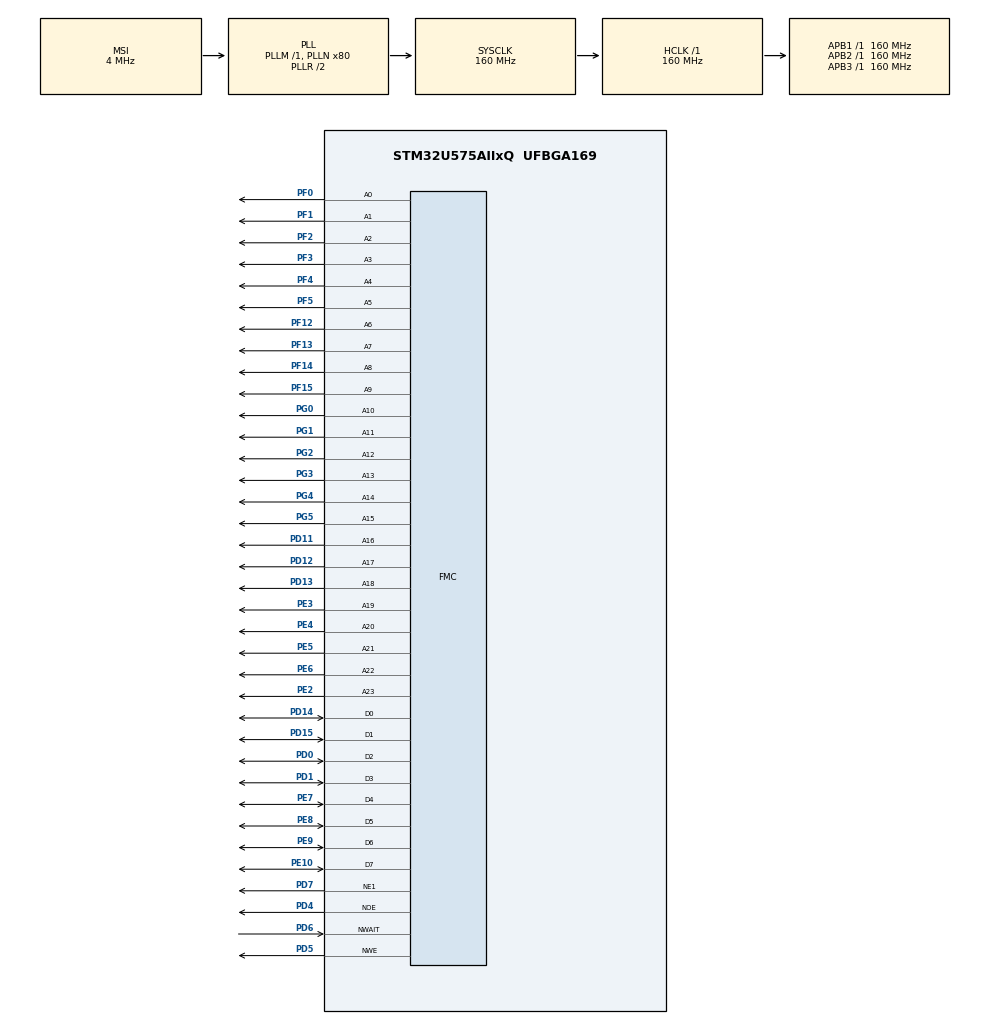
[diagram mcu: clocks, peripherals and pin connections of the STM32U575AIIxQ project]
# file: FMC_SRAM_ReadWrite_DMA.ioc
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CORTEX_M33_NS.userName=CORTEX_M33
DCACHE1.DCACHE_Read_Burst_Type=DCACHE_READ_BURST_INCR
FMC.AddressSetupTime1=9
FMC.BusTurnAroundDuration1=2
FMC.DataSetupTime1=6
FMC.WriteFifo1=FMC_WRITE_FIFO_DISABLE
FMC.WriteOperation1=FMC_WRITE_OPERATION_ENABLE
GPDMA1.DESTDATAWIDTH_GPDMACH1=DMA_DEST_DATAWIDTH_HALFWORD
GPDMA1.DESTINC_GPDMACH1=DMA_DINC_INCREMENTED
GPDMA1.PRIORITY_GPDMACH1=DMA_LOW_PRIORITY_HIGH_WEIGHT
GPDMA1.SRCDATAWIDTH_GPDMACH1=DMA_SRC_DATAWIDTH_HALFWORD
GPDMA1.SRCINC_GPDMACH1=DMA_SINC_INCREMENTED
GPDMA1.TRANSFERALLOCATEDPORTDEST_GPDMACH1=DMA_DEST_ALLOCATED_PORT1
Mcu.Family=STM32U5
Mcu.Name=STM32U575AIIxQ
Mcu.Package=UFBGA169
NVIC.GPDMA1_Channel1_IRQn=true\:0\:0\:false\:false\:true\:true\:true\:true
NVIC.PriorityGroup=NVIC_PRIORITYGROUP_4
PD0.Signal=FMC_D2_DA2
PD1.Signal=FMC_D3_DA3
PD10.Signal=FMC_D15_DA15
PD11.Signal=FMC_A16_CLE
PD12.Signal=FMC_A17_ALE
PD13.Signal=FMC_A18
PD14.Signal=FMC_D0_DA0
PD15.Signal=FMC_D1_DA1
PD3.Signal=FMC_CLK
PD4.Signal=FMC_NOE
PD5.Signal=FMC_NWE
PD6.Signal=FMC_NWAIT
PD7.Mode=NorPsramChipSelect1_1
PD7.Signal=FMC_NE1
PD8.Signal=FMC_D13_DA13
PD9.Signal=FMC_D14_DA14
PE10.Signal=FMC_D7_DA7
PE11.Signal=FMC_D8_DA8
PE12.Signal=FMC_D9_DA9
PE13.Signal=FMC_D10_DA10
PE14.Signal=FMC_D11_DA11
PE15.Signal=FMC_D12_DA12
PE2.Signal=FMC_A23
PE3.Signal=FMC_A19
PE4.Signal=FMC_A20
PE5.Signal=FMC_A21
PE6.Signal=FMC_A22
PE7.Signal=FMC_D4_DA4
PE8.Signal=FMC_D5_DA5
PE9.Signal=FMC_D6_DA6
PF0.Signal=FMC_A0
PF1.Signal=FMC_A1
PF12.Signal=FMC_A6
PF13.Signal=FMC_A7
PF14.Signal=FMC_A8
PF15.Signal=FMC_A9
PF2.Signal=FMC_A2
PF3.Signal=FMC_A3
PF4.Signal=FMC_A4
PF5.Signal=FMC_A5
PG0.Signal=FMC_A10
PG1.Signal=FMC_A11
PG2.Signal=FMC_A12
PG3.Signal=FMC_A13
PG4.Signal=FMC_A14
PG5.Signal=FMC_A15
PWR.PowerMode=PWR_SMPS_SUPPLY
ProjectManager.HeapSize=0x200
ProjectManager.StackSize=0x400
ProjectManager.TargetToolchain=EWARM V8.50
RCC.ADCFreq_Value=16000000
RCC.AHBFreq_Value=160000000
RCC.APB1Freq_Value=160000000
RCC.APB1TimFreq_Value=160000000
RCC.APB2Freq_Value=160000000
RCC.APB2TimFreq_Value=160000000
RCC.APB3Freq_Value=160000000
RCC.CortexFreq_Value=160000000
RCC.DACCLockSelectionVirtual=RCC_DAC1CLKSOURCE_LSI
RCC.DACCLockSelectionVirtualString=RCC_DAC1CLKSOURCE_LSI
RCC.EPOD_VALUE=4000000
RCC.HCLKFreq_Value=160000000
RCC.HSE_VALUE=16000000
RCC.HSI48_VALUE=48000000
RCC.HSI_VALUE=16000000
RCC.LSE_VALUE=32768
RCC.LSIDIV_VALUE=32000
RCC.MSI_VALUE=4000000
RCC.PLLN=80
RCC.SYSCLKFreq_VALUE=160000000
RCC.SYSCLKSource=RCC_SYSCLKSOURCE_PLLCLK
RCC.USBFreq_Value=48000000
RCC.VCOOutputFreq_Value=320000000
SH.FMC_A0.0=FMC_A0,24b-a1
SH.FMC_A1.0=FMC_A1,24b-a1
SH.FMC_A10.0=FMC_A10,24b-a1
SH.FMC_A11.0=FMC_A11,24b-a1
SH.FMC_A12.0=FMC_A12,24b-a1
SH.FMC_A13.0=FMC_A13,24b-a1
SH.FMC_A14.0=FMC_A14,24b-a1
SH.FMC_A15.0=FMC_A15,24b-a1
SH.FMC_A16_CLE.0=FMC_A16,24b-a1
SH.FMC_A17_ALE.0=FMC_A17,24b-a1
SH.FMC_A18.0=FMC_A18,24b-a1
SH.FMC_A19.0=FMC_A19,24b-a1
SH.FMC_A2.0=FMC_A2,24b-a1
SH.FMC_A20.0=FMC_A20,24b-a1
SH.FMC_A21.0=FMC_A21,24b-a1
SH.FMC_A22.0=FMC_A22,24b-a1
SH.FMC_A23.0=FMC_A23,24b-a1
SH.FMC_A3.0=FMC_A3,24b-a1
SH.FMC_A4.0=FMC_A4,24b-a1
SH.FMC_A5.0=FMC_A5,24b-a1
SH.FMC_A6.0=FMC_A6,24b-a1
SH.FMC_A7.0=FMC_A7,24b-a1
SH.FMC_A8.0=FMC_A8,24b-a1
SH.FMC_A9.0=FMC_A9,24b-a1
SH.FMC_CLK.0=FMC_CLK
SH.FMC_D0_DA0.0=FMC_D0,8b-d1
SH.FMC_D10_DA10.0=FMC_D10
SH.FMC_D11_DA11.0=FMC_D11
SH.FMC_D12_DA12.0=FMC_D12
SH.FMC_D13_DA13.0=FMC_D13
SH.FMC_D14_DA14.0=FMC_D14
SH.FMC_D15_DA15.0=FMC_D15
SH.FMC_D1_DA1.0=FMC_D1,8b-d1
SH.FMC_D2_DA2.0=FMC_D2,8b-d1
SH.FMC_D3_DA3.0=FMC_D3,8b-d1
SH.FMC_D4_DA4.0=FMC_D4,8b-d1
SH.FMC_D5_DA5.0=FMC_D5,8b-d1
SH.FMC_D6_DA6.0=FMC_D6,8b-d1
SH.FMC_D7_DA7.0=FMC_D7,8b-d1
SH.FMC_D8_DA8.0=FMC_D8
SH.FMC_D9_DA9.0=FMC_D9
SH.FMC_NOE.0=FMC_NOE,Sram1
SH.FMC_NWAIT.0=FMC_NWAIT,AsynchronousWait1
SH.FMC_NWE.0=FMC_NWE,Sram1
VP_DCACHE1_VS_DCACHE.Mode=DCACHE_Activate
VP_GPDMA1_VS_GPDMACH1.Mode=SIMPLEREQUEST_GPDMACH1
VP_ICACHE_VS_ICACHE.Mode=DirectMappedCache
VP_LPBAMQUEUE_VS_QUEUE.Mode=QUEUEMODE
VP_LPBAM_VS_SIG1.Mode=SmartRun
VP_LPBAM_VS_SIG4.Mode=LPDMA1
VP_PWR_VS_DBSignals.Mode=DisableDeadBatterySignals
VP_PWR_VS_LPOM.Mode=PowerOptimisation
VP_PWR_VS_SECSignals.Mode=Security/Privilege
board=custom

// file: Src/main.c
/* USER CODE BEGIN Header */
/**
  ******************************************************************************
  * @file           : main.c
  * @brief          : Main program body
  ******************************************************************************
  * @attention
  *
  * Copyright (c) 2021 STMicroelectronics.
  * All rights reserved.
  *
  * This software is licensed under terms that can be found in the LICENSE file
  * in the root directory of this software component.
  * If no LICENSE file comes with this software, it is provided AS-IS.
  *
  ******************************************************************************
  */
/* USER CODE END Header */
#include "main.h"

/* USER CODE BEGIN PM */
#define BUFFER_SIZE         ((uint32_t)0x0100)
#define WRITE_READ_ADDR     ((uint32_t)0x0800)

/* Private macro -------------------------------------------------------------*/
/* Private variables ---------------------------------------------------------*/
/* Read/Write Buffers */
uint16_t DMA_BufferSRC16[BUFFER_SIZE];
uint16_t DMA_BufferDST16[BUFFER_SIZE];

/* Status variables */
__IO uint32_t uwWriteReadStatus = 0;
__IO uint32_t uwDMATransferComplete = 0;
/* Counter index */
uint32_t uwIndex = 0;
/* USER CODE END PM */

DCACHE_HandleTypeDef hdcache1;

DMA_HandleTypeDef handle_GPDMA1_Channel1;

SRAM_HandleTypeDef hsram1;

void SystemClock_Config(void);
static void SystemPower_Config(void);
static void MX_GPIO_Init(void);
static void MX_GPDMA1_Init(void);
static void MX_DCACHE1_Init(void);
static void MX_FMC_Init(void);
static void MX_ICACHE_Init(void);
/* USER CODE BEGIN PFP */
static void     Fill_Buffer(uint16_t *pBuffer, uint32_t uwBufferLenght, uint16_t uwOffset);
static void     Clear_Buffer(uint16_t *pBuffer, uint32_t uwBufferLength);
static uint8_t  Buffercmp(uint16_t *pBuffer1, uint16_t *pBuffer2, uint16_t BufferLength);
/* USER CODE END PFP */

int main(void)
{

  /* USER CODE BEGIN 1 */
  /* STM32U5xx HAL library initialization:
       - Configure the Flash prefetch
       - Configure the Systick to generate an interrupt each 1 msec
       - Set NVIC Group Priority to 3
       - Low Level Initialization
     */
  /* USER CODE END 1 */

  /* MCU Configuration--------------------------------------------------------*/

  /* Reset of all peripherals, Initializes the Flash interface and the Systick. */
  HAL_Init();

  /* USER CODE BEGIN Init */
  /* Configure LED5 and LED6*/
  BSP_LED_Init(LED5);
  BSP_LED_Init(LED6);
  /* USER CODE END Init */

  /* Configure the System Power */
  SystemPower_Config();

  /* Configure the system clock */
  SystemClock_Config();

  /* Initialize all configured peripherals */
  MX_GPIO_Init();
  MX_GPDMA1_Init();
  MX_DCACHE1_Init();
  MX_FMC_Init();
  MX_ICACHE_Init();
  /* USER CODE BEGIN 2 */
  /*##-2- SRAM memory DMA-read/write ######################################*/
  /* Fill the buffer to write */
  Fill_Buffer(DMA_BufferSRC16, BUFFER_SIZE, 0xC20F);

  /* Clear the buffer to read */
  Clear_Buffer(DMA_BufferDST16, BUFFER_SIZE);

  /* Write data to the SRAM memory */
  HAL_SRAM_Write_DMA(&hsram1, (uint32_t *)(SRAM_BANK_ADDR + WRITE_READ_ADDR), (uint32_t *)DMA_BufferSRC16, BUFFER_SIZE);

  /* Wait until DMA transfer is complete */
  while(uwDMATransferComplete != 1)
  {
  }

  uwDMATransferComplete = 0;

  /* DMA read data buffer from SRAM memory */
  HAL_SRAM_Read_DMA(&hsram1, (uint32_t *)(SRAM_BANK_ADDR + WRITE_READ_ADDR), (uint32_t *)DMA_BufferDST16, BUFFER_SIZE);

  /* Wait until DMA transfer is complete */
  while(uwDMATransferComplete != 1)
  {
  }

  /*##-3- Checking data integrity ############################################*/
  uwWriteReadStatus = Buffercmp(DMA_BufferSRC16, DMA_BufferDST16, BUFFER_SIZE);

  if(uwWriteReadStatus)
  {
    /* KO */
    BSP_LED_On(LED6);
  }
  else
  {
    /* OK */
    BSP_LED_On(LED5);
  }
  /* USER CODE END 2 */

  /* Infinite loop */
  while (1)
  {

  }
}

void SystemClock_Config(void)
{
  RCC_OscInitTypeDef RCC_OscInitStruct = {0};
  RCC_ClkInitTypeDef RCC_ClkInitStruct = {0};

  /** Configure the main internal regulator output voltage
  */
  if (HAL_PWREx_ControlVoltageScaling(PWR_REGULATOR_VOLTAGE_SCALE1) != HAL_OK)
  {
    Error_Handler();
  }

  /** Initializes the CPU, AHB and APB buses clocks
  */
  RCC_OscInitStruct.OscillatorType = RCC_OSCILLATORTYPE_MSI;
  RCC_OscInitStruct.MSIState = RCC_MSI_ON;
  RCC_OscInitStruct.MSICalibrationValue = RCC_MSICALIBRATION_DEFAULT;
  RCC_OscInitStruct.MSIClockRange = RCC_MSIRANGE_4;
  RCC_OscInitStruct.PLL.PLLState = RCC_PLL_ON;
  RCC_OscInitStruct.PLL.PLLSource = RCC_PLLSOURCE_MSI;
  RCC_OscInitStruct.PLL.PLLMBOOST = RCC_PLLMBOOST_DIV1;
  RCC_OscInitStruct.PLL.PLLM = 1;
  RCC_OscInitStruct.PLL.PLLN = 80;
  RCC_OscInitStruct.PLL.PLLP = 2;
  RCC_OscInitStruct.PLL.PLLQ = 2;
  RCC_OscInitStruct.PLL.PLLR = 2;
  RCC_OscInitStruct.PLL.PLLRGE = RCC_PLLVCIRANGE_0;
  RCC_OscInitStruct.PLL.PLLFRACN = 0;
  if (HAL_RCC_OscConfig(&RCC_OscInitStruct) != HAL_OK)
  {
    Error_Handler();
  }

  /** Initializes the CPU, AHB and APB buses clocks
  */
  RCC_ClkInitStruct.ClockType = RCC_CLOCKTYPE_HCLK|RCC_CLOCKTYPE_SYSCLK
                              |RCC_CLOCKTYPE_PCLK1|RCC_CLOCKTYPE_PCLK2
                              |RCC_CLOCKTYPE_PCLK3;
  RCC_ClkInitStruct.SYSCLKSource = RCC_SYSCLKSOURCE_PLLCLK;
  RCC_ClkInitStruct.AHBCLKDivider = RCC_SYSCLK_DIV1;
  RCC_ClkInitStruct.APB1CLKDivider = RCC_HCLK_DIV1;
  RCC_ClkInitStruct.APB2CLKDivider = RCC_HCLK_DIV1;
  RCC_ClkInitStruct.APB3CLKDivider = RCC_HCLK_DIV1;

  if (HAL_RCC_ClockConfig(&RCC_ClkInitStruct, FLASH_LATENCY_4) != HAL_OK)
  {
    Error_Handler();
  }
}

/**
  * @brief Power Configuration
  * @retval None
  */
static void SystemPower_Config(void)
{
  HAL_PWREx_EnableVddIO2();

  /*
   * Disable the internal Pull-Up in Dead Battery pins of UCPD peripheral
   */
  HAL_PWREx_DisableUCPDDeadBattery();

  /*
   * Switch to SMPS regulator instead of LDO
   */
  if (HAL_PWREx_ConfigSupply(PWR_SMPS_SUPPLY) != HAL_OK)
  {
    Error_Handler();
  }
}

static void MX_DCACHE1_Init(void)
{

  hdcache1.Instance = DCACHE1;
  hdcache1.Init.ReadBurstType = DCACHE_READ_BURST_INCR;
  if (HAL_DCACHE_Init(&hdcache1) != HAL_OK)
  {
    Error_Handler();
  }

}

static void MX_GPDMA1_Init(void)
{

  /* Peripheral clock enable */
  __HAL_RCC_GPDMA1_CLK_ENABLE();

  /* GPDMA1 interrupt Init */
    HAL_NVIC_SetPriority(GPDMA1_Channel1_IRQn, 0, 0);
    HAL_NVIC_EnableIRQ(GPDMA1_Channel1_IRQn);

  handle_GPDMA1_Channel1.Instance = GPDMA1_Channel1;
  handle_GPDMA1_Channel1.Init.Request = DMA_REQUEST_SW;
  handle_GPDMA1_Channel1.Init.BlkHWRequest = DMA_BREQ_SINGLE_BURST;
  handle_GPDMA1_Channel1.Init.Direction = DMA_MEMORY_TO_MEMORY;
  handle_GPDMA1_Channel1.Init.SrcInc = DMA_SINC_INCREMENTED;
  handle_GPDMA1_Channel1.Init.DestInc = DMA_DINC_INCREMENTED;
  handle_GPDMA1_Channel1.Init.SrcDataWidth = DMA_SRC_DATAWIDTH_HALFWORD;
  handle_GPDMA1_Channel1.Init.DestDataWidth = DMA_DEST_DATAWIDTH_HALFWORD;
  handle_GPDMA1_Channel1.Init.Priority = DMA_LOW_PRIORITY_HIGH_WEIGHT;
  handle_GPDMA1_Channel1.Init.SrcBurstLength = 1;
  handle_GPDMA1_Channel1.Init.DestBurstLength = 1;
  handle_GPDMA1_Channel1.Init.TransferAllocatedPort = DMA_SRC_ALLOCATED_PORT0|DMA_DEST_ALLOCATED_PORT1;
  handle_GPDMA1_Channel1.Init.TransferEventMode = DMA_TCEM_BLOCK_TRANSFER;
  handle_GPDMA1_Channel1.Init.Mode = DMA_NORMAL;
  if (HAL_DMA_Init(&handle_GPDMA1_Channel1) != HAL_OK)
  {
    Error_Handler();
  }
  if (HAL_DMA_ConfigChannelAttributes(&handle_GPDMA1_Channel1, DMA_CHANNEL_NPRIV) != HAL_OK)
  {
    Error_Handler();
  }
  /* USER CODE BEGIN GPDMA1_Init 2 */
__HAL_LINKDMA(&hsram1, hdma, handle_GPDMA1_Channel1);
  /* USER CODE END GPDMA1_Init 2 */

}

static void MX_ICACHE_Init(void)
{

  /** Enable instruction cache in 1-way (direct mapped cache)
  */
  if (HAL_ICACHE_ConfigAssociativityMode(ICACHE_1WAY) != HAL_OK)
  {
    Error_Handler();
  }
  if (HAL_ICACHE_Enable() != HAL_OK)
  {
    Error_Handler();
  }

}

/* FMC initialization function */
static void MX_FMC_Init(void)
{

  FMC_NORSRAM_TimingTypeDef Timing = {0};

  /** Perform the SRAM1 memory initialization sequence
  */
  hsram1.Instance = FMC_NORSRAM_DEVICE;
  hsram1.Extended = FMC_NORSRAM_EXTENDED_DEVICE;
  /* hsram1.Init */
  hsram1.Init.NSBank = FMC_NORSRAM_BANK1;
  hsram1.Init.DataAddressMux = FMC_DATA_ADDRESS_MUX_DISABLE;
  hsram1.Init.MemoryType = FMC_MEMORY_TYPE_SRAM;
  hsram1.Init.MemoryDataWidth = FMC_NORSRAM_MEM_BUS_WIDTH_8;
  hsram1.Init.BurstAccessMode = FMC_BURST_ACCESS_MODE_DISABLE;
  hsram1.Init.WaitSignalPolarity = FMC_WAIT_SIGNAL_POLARITY_LOW;
  hsram1.Init.WaitSignalActive = FMC_WAIT_TIMING_BEFORE_WS;
  hsram1.Init.WriteOperation = FMC_WRITE_OPERATION_ENABLE;
  hsram1.Init.WaitSignal = FMC_WAIT_SIGNAL_DISABLE;
  hsram1.Init.ExtendedMode = FMC_EXTENDED_MODE_DISABLE;
  hsram1.Init.AsynchronousWait = FMC_ASYNCHRONOUS_WAIT_ENABLE;
  hsram1.Init.WriteBurst = FMC_WRITE_BURST_DISABLE;
  hsram1.Init.ContinuousClock = FMC_CONTINUOUS_CLOCK_SYNC_ONLY;
  hsram1.Init.WriteFifo = FMC_WRITE_FIFO_DISABLE;
  hsram1.Init.NBLSetupTime = 0;
  hsram1.Init.PageSize = FMC_PAGE_SIZE_NONE;
  hsram1.Init.MaxChipSelectPulse = DISABLE;
  /* Timing */
  Timing.AddressSetupTime = 9;
  Timing.AddressHoldTime = 15;
  Timing.DataSetupTime = 6;
  Timing.DataHoldTime = 0;
  Timing.BusTurnAroundDuration = 2;
  Timing.CLKDivision = 16;
  Timing.DataLatency = 17;
  Timing.AccessMode = FMC_ACCESS_MODE_A;
  /* ExtTiming */

  if (HAL_SRAM_Init(&hsram1, &Timing, NULL) != HAL_OK)
  {
    Error_Handler( );
  }

}

static void MX_GPIO_Init(void)
{

  /* GPIO Ports Clock Enable */
  __HAL_RCC_GPIOE_CLK_ENABLE();
  __HAL_RCC_GPIOD_CLK_ENABLE();
  __HAL_RCC_GPIOF_CLK_ENABLE();
  __HAL_RCC_GPIOG_CLK_ENABLE();

}

/* USER CODE BEGIN 4 */

/**
  * @brief  Fills buffer with user predefined data.
  * @param  pBuffer: pointer on the buffer to fill
  * @param  uwBufferLength: size of the buffer to fill
  * @param  uwOffset: first value to fill on the buffer
  * @retval None
  */
static void Fill_Buffer(uint16_t *pBuffer, uint32_t uwBufferLength, uint16_t uwOffset)
{
  uint16_t tmpIndex = 0;

  /* Put in global buffer different values */
  for (tmpIndex = 0; tmpIndex < uwBufferLength; tmpIndex++)
  {
    pBuffer[tmpIndex] = tmpIndex + uwOffset;
  }
}

static void Clear_Buffer(uint16_t *pBuffer, uint32_t uwBufferLength)
{
  uint16_t tmpIndex = 0;

  /* Put in global buffer different values */
  for (tmpIndex = 0; tmpIndex < uwBufferLength; tmpIndex++)
  {
    pBuffer[tmpIndex] = 0;
  }
}
/**
  * @brief  Compares two buffers.
  * @param  pBuffer1, pBuffer2: buffers to be compared.
  * @param  BufferLength: buffer's length
  * @retval 1: pBuffer identical to pBuffer1
  *         0: pBuffer differs from pBuffer1
  */
static uint8_t Buffercmp(uint16_t* pBuffer1, uint16_t* pBuffer2, uint16_t BufferLength)
{
  while (BufferLength--)
  {
    if (*pBuffer1 != *pBuffer2)
    {
      return 1;
    }

    pBuffer1++;
    pBuffer2++;
  }

  return 0;
}

/**
  * @brief  DMA transfer complete callback.
  * @param  hdma pointer to a SRAM_HandleTypeDef structure that contains
  *                the configuration information for SRAM module.
  */
void HAL_SRAM_DMA_XferCpltCallback(DMA_HandleTypeDef *hdma)
{
  uwDMATransferComplete++;
}
/* USER CODE END 4 */

void Error_Handler(void)
{
  /* USER CODE BEGIN Error_Handler_Debug */
  __disable_irq();
  while (1)
  {
    BSP_LED_Toggle(LED6);
    HAL_Delay(100);
  }
  /* USER CODE END Error_Handler_Debug */
}
